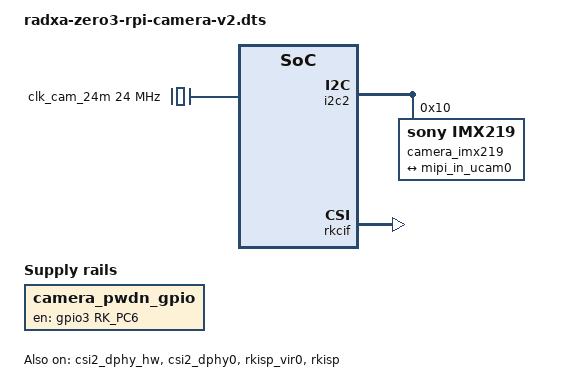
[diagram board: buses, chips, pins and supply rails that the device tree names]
/dts-v1/;
/plugin/;

#include <dt-bindings/gpio/gpio.h>
#include <dt-bindings/pinctrl/rockchip.h>


/ {
	metadata {
		title = "Enable Raspberry Pi Camera v2";
		compatible = "radxa,zero3";
		category = "camera";
		exclusive = "csi2_dphy0";
		description = "Enable Raspberry Pi Camera v2.";
	};

	fragment@0 {
		target-path = "/";

		__overlay__ {
			clk_cam_24m: external-camera-clock-24m {
				status = "okay";
				compatible = "fixed-clock";
				clock-frequency = <24000000>;
				clock-output-names = "clk_cam_24m";
				#clock-cells = <0>;
			};

			camera_pwdn_gpio: camera-pwdn-gpio {
				status = "okay";
				compatible = "regulator-fixed";
				regulator-name = "camera_pwdn_gpio";
				regulator-always-on;
				regulator-boot-on;
				enable-active-high;
				gpio = <&gpio3 RK_PC6 GPIO_ACTIVE_HIGH>;
			};
		};
	};

	fragment@1 {
		target = <&i2c2>;

		__overlay__ {
			status = "okay";
			pinctrl-names = "default";
			pinctrl-0 = <&i2c2m1_xfer>;
			#address-cells = <1>;
			#size-cells = <0>;

			camera_imx219: camera-imx219@10 {
				status = "okay";
				compatible = "sony,imx219";
				reg = <0x10>;
				clocks = <&clk_cam_24m>;
				clock-names = "xvclk";
				rockchip,camera-module-index = <0>;
				rockchip,camera-module-facing = "back";
				rockchip,camera-module-name = "rpi-camera-v2";
				rockchip,camera-module-lens-name = "default";

				port {
					ucam_out0: endpoint {
						remote-endpoint = <&mipi_in_ucam0>;
						data-lanes = <1 2>;
					};
				};
			};
		};
	};

	fragment@2 {
		target = <&csi2_dphy_hw>;

		__overlay__ {
			status = "okay";
		};
	};

	fragment@3 {
		target = <&csi2_dphy0>;

		__overlay__ {
			status = "okay";

			ports {
				#address-cells = <1>;
				#size-cells = <0>;

				port@0 {
					reg = <0>;
					#address-cells = <1>;
					#size-cells = <0>;

					mipi_in_ucam0: endpoint@1 {
						reg = <1>;
						remote-endpoint = <&ucam_out0>;
						data-lanes = <1 2>;
					};
				};

				port@1 {
					reg = <1>;
					#address-cells = <1>;
					#size-cells = <0>;

					dphy0_out: endpoint@1 {
						reg = <1>;
						remote-endpoint = <&isp0_in>;
					};
				};
			};
		};
	};

	fragment@4 {
		target = <&rkisp_vir0>;

		__overlay__ {
			status = "okay";

			port {
				#address-cells = <1>;
				#size-cells = <0>;

				isp0_in: endpoint@0 {
					reg = <0>;
					remote-endpoint = <&dphy0_out>;
				};
			};
		};
	};

	fragment@5 {
		target = <&rkisp>;

		__overlay__ {
			status = "okay";
		};
	};

	fragment@6 {
		target = <&rkisp_mmu>;

		__overlay__ {
			status = "okay";
		};
	};

	fragment@7 {
		target = <&rkcif_mmu>;

		__overlay__ {
			status = "okay";
		};
	};

	fragment@8 {
		target = <&rkcif>;

		__overlay__ {
			status = "okay";
		};
	};
};
